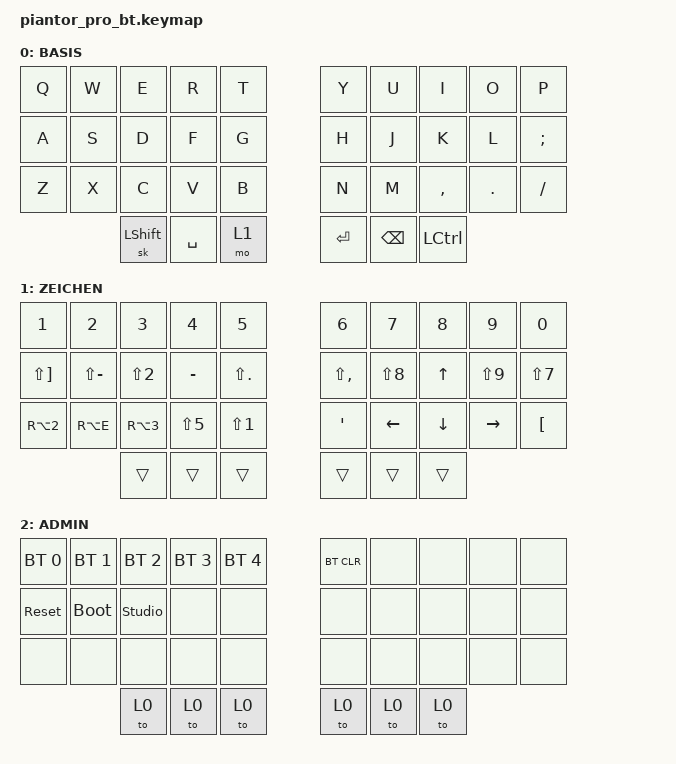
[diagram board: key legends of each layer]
/*
 * Piantor Pro BT - Einsteiger-Layout fuer Host mit Tastaturlayout "Deutsch (Schweiz)"
 *
 * WICHTIG: ZMK sendet US-Keycodes, das Betriebssystem uebersetzt sie nach DE-CH.
 *  - Taste rechts von T sendet "Y" und ergibt auf dem CH-Host ein "z".
 *  - Taste unten links sendet "Z" und ergibt auf dem CH-Host ein "y".
 *  - Symbole sind als Shift-/AltGr-Kombination der CH-Belegung geschrieben.
 *
 * Layer 0 = Basis, Layer 1 = Zeichen, Layer 2 = Admin
 *
 * Copyright (c) 2020 The ZMK Contributors
 * SPDX-License-Identifier: MIT
 */

#include <behaviors.dtsi>
#include <dt-bindings/zmk/keys.h>
#include <dt-bindings/zmk/bt.h>
#include <dt-bindings/zmk/rgb.h>

/ {
    chosen {
        zmk,physical-layout = &default_layout;
    };
};

/ {
    /*
     * Kombo Q + P (Positionen 0 und 9) wechselt auf den Admin-Layer.
     * Nur auf Layer 0 aktiv, damit z.B. "1" + "0" auf Layer 1 nichts ausloest.
     * Zurueck geht es auf Layer 2 mit jeder Daumentaste (&to 0).
     */
    combos {
        compatible = "zmk,combos";

        combo_admin {
            timeout-ms = <80>;
            require-prior-idle-ms = <150>;
            key-positions = <0 9>;
            layers = <0>;
            bindings = <&to 2>;
        };
    };

    keymap {
        compatible = "zmk,keymap";

        base_layer {
            display-name = "BASIS";
            // Ergebnis auf dem CH-Host:
            // |  Q  |  W  |  E  |  R  |  T  |  Z  |  U  |  I  |  O  |  P  |
            // |  A  |  S  |  D  |  F  |  G  |  H  |  J  |  K  |  L  |  ö  |
            // |  Y  |  X  |  C  |  V  |  B  |  N  |  M  |  ,  |  .  |  -  |
            //           | Shift | Space | Zeichen | Enter | Bksp | Ctrl |
            bindings = <
                &kp Q &kp W &kp E &kp R &kp T   &kp Y &kp U &kp I &kp O     &kp P
                &kp A &kp S &kp D &kp F &kp G   &kp H &kp J &kp K &kp L     &kp SEMI
                &kp Z &kp X &kp C &kp V &kp B   &kp N &kp M &kp COMMA &kp DOT &kp FSLH
                          &sk LSHFT &kp SPACE &mo 1   &kp RET &kp BSPC &kp LCTRL
            >;
        };

        zeichen_layer {
            display-name = "ZEICHEN";
            // |  1  |  2  |  3  |  4  |  5  |  6  |  7  |  8  |  9  |  0  |
            // |  !  |  ?  |  "  |  '  |  :  |  ;  |  (  |  ↑  |  )  |  /  |
            // |  @  |  €  |  #  |  %  |  +  |  ä  |  ←  |  ↓  |  →  |  ü  |
            //           |     |     | Zeichen |     |     |     |
            bindings = <
                &kp N1         &kp N2         &kp N3        &kp N4         &kp N5         &kp N6          &kp N7        &kp N8       &kp N9        &kp N0
                &kp LS(RBKT)   &kp LS(MINUS)  &kp LS(N2)    &kp MINUS      &kp LS(DOT)    &kp LS(COMMA)   &kp LS(N8)    &kp UP       &kp LS(N9)    &kp LS(N7)
                &kp RA(N2)     &kp RA(E)      &kp RA(N3)    &kp LS(N5)     &kp LS(N1)     &kp SQT         &kp LEFT      &kp DOWN     &kp RIGHT     &kp LBKT
                                              &trans &trans &trans   &trans &trans &trans
            >;
        };

        admin_layer {
            display-name = "ADMIN";
            // | BT1 | BT2 | BT3 | BT4 | BT5 |BTclr|     |     |     |     |
            // |Reset|Boot |Unlck|     |     |     |     |     |     |     |
            // |     |     |     |     |     |     |     |     |     |     |
            //      | Zurueck (alle sechs Daumentasten = Layer 0) |
            bindings = <
                &bt BT_SEL 0 &bt BT_SEL 1 &bt BT_SEL 2 &bt BT_SEL 3 &bt BT_SEL 4   &bt BT_CLR &none &none &none &none
                &sys_reset   &bootloader  &studio_unlock &none      &none          &none &none &none &none &none
                &none        &none        &none        &none        &none          &none &none &none &none &none
                                          &to 0 &to 0 &to 0   &to 0 &to 0 &to 0
            >;
        };
    };
};
